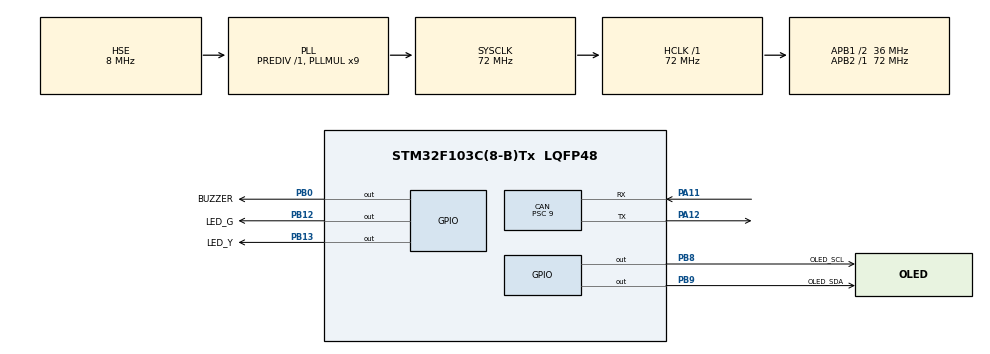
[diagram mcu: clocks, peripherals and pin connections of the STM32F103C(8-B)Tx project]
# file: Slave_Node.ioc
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CAN.BS1=CAN_BS1_6TQ
CAN.CalculateBaudRate=500000
CAN.CalculateTimeBit=2000
CAN.CalculateTimeQuantum=250.0
CAN.Mode=CAN_MODE_NORMAL
CAN.Prescaler=9
CAN.TTCM=DISABLE
Mcu.Family=STM32F1
Mcu.Name=STM32F103C(8-B)Tx
Mcu.Package=LQFP48
NVIC.PriorityGroup=NVIC_PRIORITYGROUP_4
NVIC.USB_LP_CAN1_RX0_IRQn=true\:0\:0\:false\:false\:true\:true\:true\:true
PA11.Mode=CAN_Activate
PA11.Signal=CAN_RX
PA12.Mode=CAN_Activate
PA12.Signal=CAN_TX
PA13.Mode=Serial_Wire
PA13.Signal=SYS_JTMS-SWDIO
PA14.Mode=Serial_Wire
PA14.Signal=SYS_JTCK-SWCLK
PB0.GPIO_Label=BUZZER
PB0.GPIO_ModeDefaultOutputPP=GPIO_MODE_OUTPUT_PP
PB0.GPIO_PuPd=GPIO_NOPULL
PB0.Signal=GPIO_Output
PB12.GPIO_Label=LED_G
PB12.GPIO_ModeDefaultOutputPP=GPIO_MODE_OUTPUT_PP
PB12.GPIO_Speed=GPIO_SPEED_FREQ_LOW
PB12.Signal=GPIO_Output
PB13.GPIO_Label=LED_Y
PB13.Signal=GPIO_Output
PB8.GPIO_Label=OLED_SCL
PB8.GPIO_ModeDefaultOutputPP=GPIO_MODE_OUTPUT_OD
PB8.GPIO_PuPd=GPIO_PULLUP
PB8.GPIO_Speed=GPIO_SPEED_FREQ_LOW
PB8.Signal=GPIO_Output
PB9.GPIO_Label=OLED_SDA
PB9.GPIO_ModeDefaultOutputPP=GPIO_MODE_OUTPUT_OD
PB9.GPIO_PuPd=GPIO_PULLUP
PB9.Signal=GPIO_Output
PD0-OSC_IN.Mode=HSE-External-Oscillator
PD0-OSC_IN.Signal=RCC_OSC_IN
PD1-OSC_OUT.Mode=HSE-External-Oscillator
PD1-OSC_OUT.Signal=RCC_OSC_OUT
ProjectManager.HeapSize=0x200
ProjectManager.StackSize=0x400
ProjectManager.TargetToolchain=MDK-ARM V5.32
RCC.AHBFreq_Value=72000000
RCC.APB1CLKDivider=RCC_HCLK_DIV2
RCC.APB1Freq_Value=36000000
RCC.APB1TimFreq_Value=72000000
RCC.APB2Freq_Value=72000000
RCC.APB2TimFreq_Value=72000000
RCC.HCLKFreq_Value=72000000
RCC.PLLMUL=RCC_PLL_MUL9
RCC.PLLSourceVirtual=RCC_PLLSOURCE_HSE
RCC.SYSCLKFreq_VALUE=72000000
RCC.SYSCLKSource=RCC_SYSCLKSOURCE_PLLCLK
RCC.USBFreq_Value=72000000
board=custom

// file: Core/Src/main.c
/* USER CODE BEGIN Header */
/**
  ******************************************************************************
  * @file           : main.c
  * @brief          : Main program body
  ******************************************************************************
  * @attention
  *
  * Copyright (c) 2026 STMicroelectronics.
  * All rights reserved.
  *
  * This software is licensed under terms that can be found in the LICENSE file
  * in the root directory of this software component.
  * If no LICENSE file comes with this software, it is provided AS-IS.
  *
  ******************************************************************************
  */
/* USER CODE END Header */
#include "main.h"
#include "can.h"
#include "gpio.h"

/* USER CODE BEGIN Includes */
#include "OLED.h"
#include "math.h"

/* USER CODE END Includes */

/* USER CODE BEGIN PD */
#define pitch_bias 2

/* USER CODE END PD */

/* USER CODE BEGIN PV */
int8_t pitch_i, roll_i;

/* USER CODE END PV */

void SystemClock_Config(void);

int main(void)
{

  /* MCU Configuration--------------------------------------------------------*/

  /* Reset of all peripherals, Initializes the Flash interface and the Systick. */
  HAL_Init();

  /* Configure the system clock */
  SystemClock_Config();

  /* Initialize all configured peripherals */
  MX_GPIO_Init();
  MX_CAN_Init();
  /* USER CODE BEGIN 2 */

  OLED_Init();

  CAN_FilterTypeDef filter;
  filter.FilterBank = 0;
  filter.FilterMode = CAN_FILTERMODE_IDMASK;
  filter.FilterScale = CAN_FILTERSCALE_32BIT;
  filter.FilterFIFOAssignment = CAN_FILTER_FIFO0;
  filter.FilterIdHigh = 0x123 << 5;      /* 接收ID=0x123，左移5位 */
  filter.FilterIdLow = 0x0000;
  filter.FilterMaskIdHigh = 0x7FF << 5;   /* 比较全部11位ID */
  filter.FilterMaskIdLow = 0x0000;
  filter.FilterActivation = ENABLE;
  filter.SlaveStartFilterBank = 14;
  HAL_CAN_ConfigFilter(&hcan, &filter);
  HAL_CAN_Start(&hcan);              /* 启动CAN */
  HAL_CAN_ActivateNotification(&hcan, CAN_IT_RX_FIFO0_MSG_PENDING);  /* 开启接收中断 */

  OLED_ShowString(1,5,"MPU-6500");
  OLED_ShowString(2,1,"Pitch:");
  OLED_ShowString(3,1,"Roll:");

  /* USER CODE END 2 */

  /* Infinite loop */
  /* USER CODE BEGIN WHILE */
  while (1)
  {
    OLED_ShowSignedNum(2,7,pitch_i-pitch_bias,3);
    OLED_ShowSignedNum(3,6,roll_i,3);

    if(abs(pitch_i-pitch_bias)<=5&abs(roll_i)<=5){
      HAL_GPIO_WritePin(LED_G_GPIO_Port,LED_G_Pin,GPIO_PIN_RESET);
      HAL_GPIO_WritePin(LED_Y_GPIO_Port,LED_Y_Pin,GPIO_PIN_SET);
    }
    else{
      HAL_GPIO_WritePin(LED_G_GPIO_Port,LED_G_Pin,GPIO_PIN_SET);
      HAL_GPIO_WritePin(LED_Y_GPIO_Port,LED_Y_Pin,GPIO_PIN_RESET);}

    if(abs(pitch_i-pitch_bias)>=45|abs(roll_i)>=45){
      HAL_GPIO_WritePin(BUZZER_GPIO_Port,BUZZER_Pin,GPIO_PIN_RESET);
    }else{
      HAL_GPIO_WritePin(BUZZER_GPIO_Port,BUZZER_Pin,GPIO_PIN_SET);
    }

    HAL_Delay(100);
    /* USER CODE END WHILE */

  }
}

void SystemClock_Config(void)
{
  RCC_OscInitTypeDef RCC_OscInitStruct = {0};
  RCC_ClkInitTypeDef RCC_ClkInitStruct = {0};

  /** Initializes the RCC Oscillators according to the specified parameters
  * in the RCC_OscInitTypeDef structure.
  */
  RCC_OscInitStruct.OscillatorType = RCC_OSCILLATORTYPE_HSE;
  RCC_OscInitStruct.HSEState = RCC_HSE_ON;
  RCC_OscInitStruct.HSEPredivValue = RCC_HSE_PREDIV_DIV1;
  RCC_OscInitStruct.HSIState = RCC_HSI_ON;
  RCC_OscInitStruct.PLL.PLLState = RCC_PLL_ON;
  RCC_OscInitStruct.PLL.PLLSource = RCC_PLLSOURCE_HSE;
  RCC_OscInitStruct.PLL.PLLMUL = RCC_PLL_MUL9;
  if (HAL_RCC_OscConfig(&RCC_OscInitStruct) != HAL_OK)
  {
    Error_Handler();
  }

  /** Initializes the CPU, AHB and APB buses clocks
  */
  RCC_ClkInitStruct.ClockType = RCC_CLOCKTYPE_HCLK|RCC_CLOCKTYPE_SYSCLK
                              |RCC_CLOCKTYPE_PCLK1|RCC_CLOCKTYPE_PCLK2;
  RCC_ClkInitStruct.SYSCLKSource = RCC_SYSCLKSOURCE_PLLCLK;
  RCC_ClkInitStruct.AHBCLKDivider = RCC_SYSCLK_DIV1;
  RCC_ClkInitStruct.APB1CLKDivider = RCC_HCLK_DIV2;
  RCC_ClkInitStruct.APB2CLKDivider = RCC_HCLK_DIV1;

  if (HAL_RCC_ClockConfig(&RCC_ClkInitStruct, FLASH_LATENCY_2) != HAL_OK)
  {
    Error_Handler();
  }
}

/* USER CODE BEGIN 4 */
void HAL_CAN_RxFifo0MsgPendingCallback(CAN_HandleTypeDef *hcan)
{
    CAN_RxHeaderTypeDef rx_header;
    uint8_t rx_data[8];

    /* 读收到的帧 */
    HAL_CAN_GetRxMessage(hcan, CAN_FILTER_FIFO0, &rx_header, rx_data);

    /* 解析pitch和roll（主节点发的是×100的整数，高低字节拼回int16） */
    pitch_i = rx_data[0];
    roll_i  = rx_data[1];

    /* 这里做你想做的事：OLED显示、串口打印、控制舵机等 */
}

/* USER CODE END 4 */

void Error_Handler(void)
{
  __disable_irq();
  while (1)
  {
  }
}
